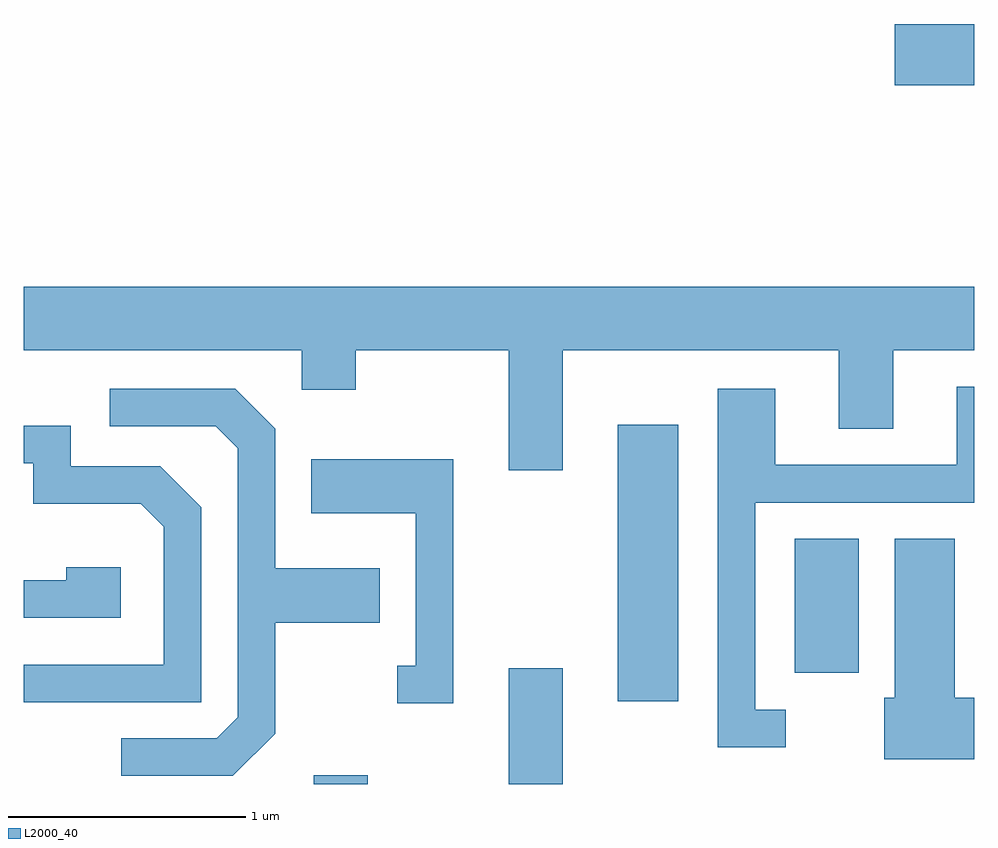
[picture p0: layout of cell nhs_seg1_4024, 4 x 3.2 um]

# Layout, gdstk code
import gdstk
lib = gdstk.Library(unit=1e-6, precision=1e-09)
def R(c, l, rs):  # rectangles x0, y0, x1, y1
    for r in rs: c.add(gdstk.rectangle(r[:2], r[2:], *l))
def P(c, l, *ps):  # polygons
    for p in ps: c.add(gdstk.Polygon(p, *l))
L2000_40 = (2000, 40)

nhs_seg1_4024 = lib.new_cell('nhs_seg1_4024')
R(nhs_seg1_4024, L2000_40, [(306.831,937.712,307.059,937.749), (307.651,937.712,307.879,938.199), (308.111,938.061,308.364,939.224), (308.856,938.181,309.124,938.744), (309.276,940.651,309.611,940.909)])
P(nhs_seg1_4024, L2000_40, [(307.879,939.536),(309.041,939.536),(309.041,939.206),(309.269,939.206),(309.269,939.536),(309.611,939.536),(309.611,939.804),(305.611,939.804),(305.611,939.536),(306.781,939.536),(306.781,939.371),(307.009,939.371),(307.009,939.536),(307.651,939.536),(307.651,939.031),(307.879,939.031)],
  [(308.818,938.024),(308.689,938.024),(308.689,938.896),(309.611,938.896),(309.611,939.383),(309.536,939.383),(309.536,939.054),(308.774,939.054),(308.774,939.374),(308.531,939.374),(308.531,937.866),(308.818,937.866)],
  [(306.669,937.924),(306.669,938.391),(307.109,938.391),(307.109,938.619),(306.669,938.619),(306.669,939.207),(306.502,939.374),(305.973,939.374),(305.973,939.216),(306.419,939.216),(306.511,939.124),(306.511,937.992),(306.424,937.904),(306.023,937.904),(306.023,937.746),(306.492,937.746)],
  [(306.359,938.877),(306.187,939.049),(305.809,939.049),(305.809,939.219),(305.611,939.219),(305.611,939.061),(305.651,939.061),(305.651,938.891),(306.104,938.891),(306.201,938.794),(306.201,938.214),(305.611,938.214),(305.611,938.056),(306.359,938.056)],
  [(307.419,939.079),(306.821,939.079),(306.821,938.851),(307.261,938.851),(307.261,938.209),(307.183,938.209),(307.183,938.051),(307.419,938.051)],
  [(309.611,938.074),(309.529,938.074),(309.529,938.744),(309.276,938.744),(309.276,938.074),(309.231,938.074),(309.231,937.816),(309.611,937.816)],
  [(306.019,938.624),(305.791,938.624),(305.791,938.569),(305.611,938.569),(305.611,938.411),(306.019,938.411)])

lib.write_gds('nhs_seg1_4024.gds')
